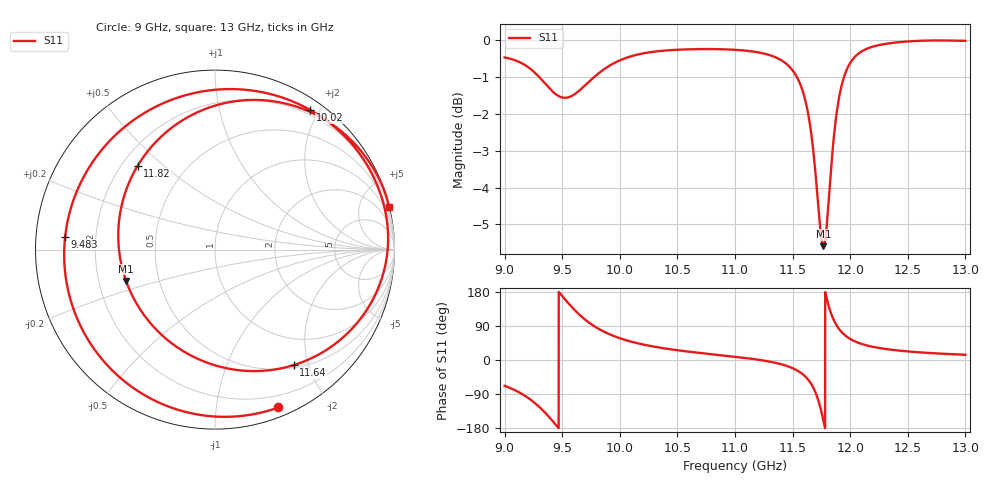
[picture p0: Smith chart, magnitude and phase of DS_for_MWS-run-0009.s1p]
! TOUCHSTONE file generated by CST DESIGN STUDIO
! Date and time: Tue Feb  4 12:43:45 2025
! Project name: C:\Work\MatlabApps\UnitCellOptimizationMatlab\CST\unitcell.cst
! Tree item: Tasks\Sweep1\SPara1\S-Parameters
! Header version: 2024
! Port assignment regex: !\s*Touchstone port\s*([0-9]+)\s*=\s*(CST MWS port|CST DES external port|CST DES block port)\s*(.+)\s* \(\"(.*)\"\)(\s*mode\s*([0-9]+))?.*
! Touchstone port assignment:
! Touchstone port 1 = CST DES external port 1 ("")
# GHz S MA R 50
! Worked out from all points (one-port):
!   4001 points, 9 GHz to 13 GHz, reference 50 ohm
!   lowest |S11| = -5.6 dB at 11.77 GHz (marker M1), VSWR 3.21, Z = 16 - j7.74 ohm
!   |S11| at or under -10 dB: nowhere
!   S11 on the Smith chart (normalised r, x): 9 GHz: 0.09, -1.47; 9.483 GHz: 0.09, +0.04; 10.02 GHz: 0.14, +1.89; 11.64 GHz: 0.54, -1.76; 11.82 GHz: 0.26, +0.41; 13 GHz: 0.06, +8.25
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9  0.9478 -68.2
9.158  0.9292 -90.9
9.267  0.9023 -114.7
9.391  0.86 -152.0
9.483  0.838 175.0
9.5  0.8363 168.8
9.604  0.844 133.1
9.704  0.8701 105.3
9.85  0.9103 76.7
10  0.9392 57.5
10.019  0.9419 55.6
10.225  0.9613 39.5
10.5  0.9709 25.8
11  0.9707 8.5
11.303  0.9545 -4.4
11.5  0.9103 -21.5
11.582  0.8586 -36.1
11.645  0.7785 -55.8
11.712  0.6246 -96.2
11.768  0.5252 -160.5
11.794  0.5552 164.9
11.823  0.6354 132.8
11.855  0.7307 107.1
11.89  0.8121 87.6
12  0.9315 55.6
12.176  0.9781 36.1
12.5  0.9963 22.7
13  0.9983 13.8
